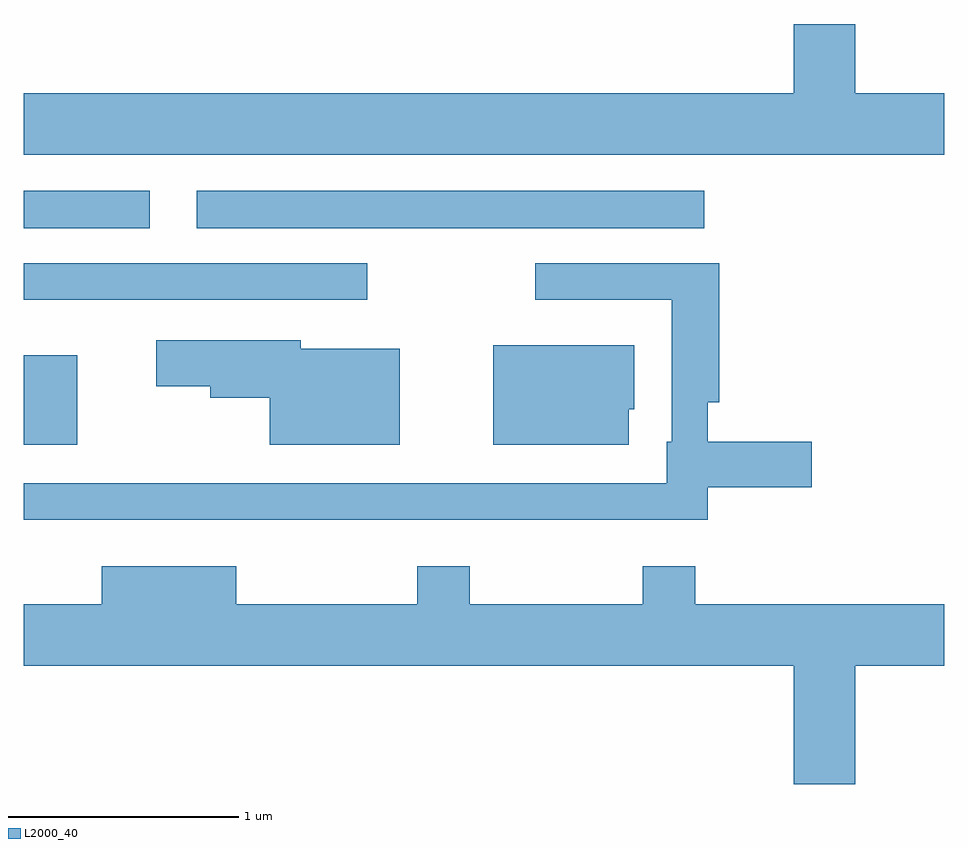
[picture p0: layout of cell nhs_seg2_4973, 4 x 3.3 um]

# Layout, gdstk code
import gdstk
lib = gdstk.Library(unit=1e-6, precision=1e-09)
def R(c, l, rs):  # rectangles x0, y0, x1, y1
    for r in rs: c.add(gdstk.rectangle(r[:2], r[2:], *l))
def P(c, l, *ps):  # polygons
    for p in ps: c.add(gdstk.Polygon(p, *l))
L2000_40 = (2000, 40)

nhs_seg2_4973 = lib.new_cell('nhs_seg2_4973')
R(nhs_seg2_4973, L2000_40, [(331.611,1049.276,331.844,1049.664), (331.611,1049.906,333.103,1050.064), (331.611,1050.216,332.158,1050.379), (332.363,1050.216,334.568,1050.379)])
P(nhs_seg2_4973, L2000_40, [(335.611,1050.804),(335.224,1050.804),(335.224,1051.104),(334.956,1051.104),(334.956,1050.804),(331.611,1050.804),(331.611,1050.536),(335.611,1050.536)],
  [(334.584,1049.091),(335.034,1049.091),(335.034,1049.289),(334.584,1049.289),(334.584,1049.461),(334.634,1049.461),(334.634,1050.064),(333.833,1050.064),(333.833,1049.906),(334.426,1049.906),(334.426,1049.289),(334.406,1049.289),(334.406,1049.109),(331.611,1049.109),(331.611,1048.951),(334.584,1048.951)],
  [(333.244,1049.694),(332.814,1049.694),(332.814,1049.729),(332.186,1049.729),(332.186,1049.531),(332.421,1049.531),(332.421,1049.481),(332.681,1049.481),(332.681,1049.276),(333.244,1049.276)],
  [(334.239,1049.431),(334.264,1049.431),(334.264,1049.709),(333.651,1049.709),(333.651,1049.276),(334.239,1049.276)],
  [(335.224,1048.316),(335.611,1048.316),(335.611,1048.584),(334.529,1048.584),(334.529,1048.749),(334.301,1048.749),(334.301,1048.584),(333.549,1048.584),(333.549,1048.749),(333.321,1048.749),(333.321,1048.584),(332.534,1048.584),(332.534,1048.749),(331.951,1048.749),(331.951,1048.584),(331.611,1048.584),(331.611,1048.316),(334.956,1048.316),(334.956,1047.802),(335.224,1047.802)])

lib.write_gds('nhs_seg2_4973.gds')
